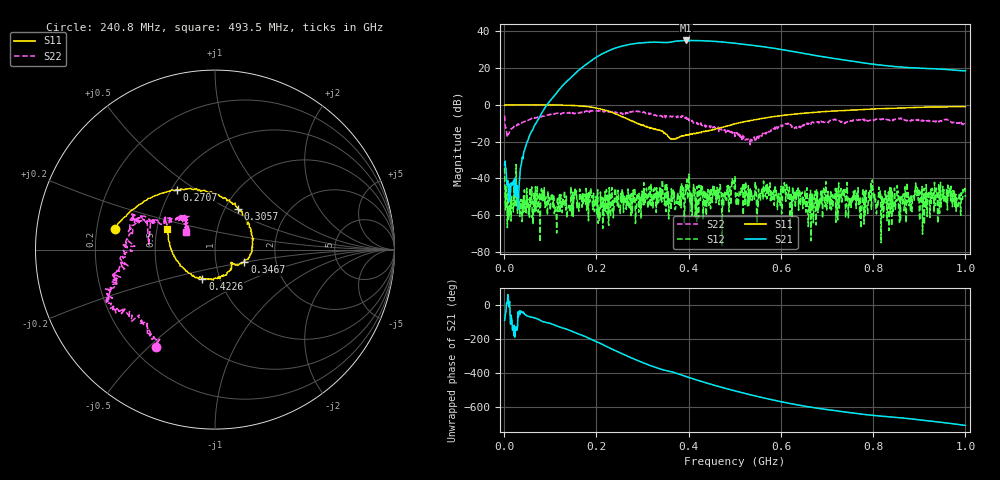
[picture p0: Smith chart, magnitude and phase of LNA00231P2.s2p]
! Created with skrf 1.9.0 (http://scikit-rf.org).
# Hz S RI R 50.0
!freq ReS11 ImS11 ReS21 ImS21 ReS12 ImS12 ReS22 ImS22
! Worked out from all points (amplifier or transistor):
!   1001 points, 1 MHz to 1 GHz, reference 50 ohm
!   highest |S21| = 35.0 dB at 394.6 MHz (marker M1)
!   |S21| within 3 dB of that: 256.8 MHz to 548.8 MHz (292 MHz wide, 72.5 % of centre)
!   unconditionally stable (mu >= 1): start of sweep to 80.82 MHz; 241.8 MHz to 282.7 MHz; 342.8 MHz to end of sweep (the widest 3 of 25)
!   at 166.8 MHz: K = 1.97, MAG = 29.9 dB, |S12| = -51.1 dB
!   at 500.5 MHz: K = 1.05, MAG = 34.6 dB, |S12| = -38.6 dB
!   at 1 GHz: K = 3.51, MAG = 25.9 dB, |S12| = -50.0 dB
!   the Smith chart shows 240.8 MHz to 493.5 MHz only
!   S11 on the Smith chart (normalised r, x): 240.8 MHz: 0.28, +0.09; 270.7 MHz: 0.53, +0.42; 305.7 MHz: 1.14, +0.56; 346.7 MHz: 1.38, -0.20; 422.6 MHz: 0.83, -0.28; 493.5 MHz: 0.57, +0.14
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1000000  0.9675 0.00089  -0.000463 -0.0229  -0.00643 0.0181  0.3883 0.3305
1.08892e8  0.5164 -0.8454  -0.8411 -1.563  0.000966 0.000526  0.4217 -0.3764
1.67833e8  -0.2387 -0.8937  -10.11 -0.405  -0.00319 0.000904  0.0376 -0.6296
2.08792e8  -0.666 -0.3926  -15.59 16.83  0.00399 0.00154  -0.208 -0.6529
2.4076e8  -0.5576 0.1134  -0.9231 34.71  -0.000551 -0.00507  -0.3302 -0.5409
2.7073e8  -0.2142 0.3342  25.1 35.27  -0.000575 0.0014  -0.5255 -0.3616
3.05695e8  0.1268 0.2284  47.14 13.19  -0.00208 0.000759  -0.5673 -0.2146
3.34666e8  0.2058 0.00655  49.01 -11.23  -0.00215 -0.000415  -0.5174 -0.0294
3.46654e8  0.164 -0.0692  45.6 -19  -0.00192 0.00234  -0.4895 0.0144
3.72628e8  0.093 -0.0762  41.16 -34.61  0.000359 -0.00213  -0.4486 0.1522
3.94606e8  0.0582 -0.1407  27.64 -48.87  -0.000336 0.00457  -0.4189 0.1871
4.22578e8  -0.0706 -0.1621  5.079 -55.13  0.00554 0.00353  -0.2559 0.1459
4.53547e8  -0.1935 -0.0833  -17.92 -50.05  0.00439 0.000875  -0.1713 0.1886
4.93507e8  -0.2648 0.1148  -36.68 -31.11  0.00609 0.000539  -0.1594 0.0999
5.005e8  -0.2668 0.157  -38.7 -27.12  0.00981 0.00654  -0.1296 0.0501
5.38462e8  -0.1779 0.3365  -40.82 -7.038  0.00325 -0.00132  -0.1115 0.0114
5.84416e8  0.0209 0.4792  -32.77 11.04  0.00105 -0.00465  -0.2234 -0.0318
6.23377e8  0.2005 0.5096  -21.78 18.35  0.000398 -0.00281  -0.2457 -0.0448
6.67333e8  0.3996 0.471  -10.97 19.77  -2.34e-05 -0.00185  -0.3229 0.0831
7.53247e8  0.6614 0.2755  0.8006 15.38  -0.00179 -0.00226  -0.2927 0.2147
8.34166e8  0.7964 0.0231  5.02 10.22  5.59e-06 -0.000384  -0.244 0.2989
1e9  0.7216 -0.5339  8.153 1.926  -0.000137 -0.00316  0.0439 0.2887
